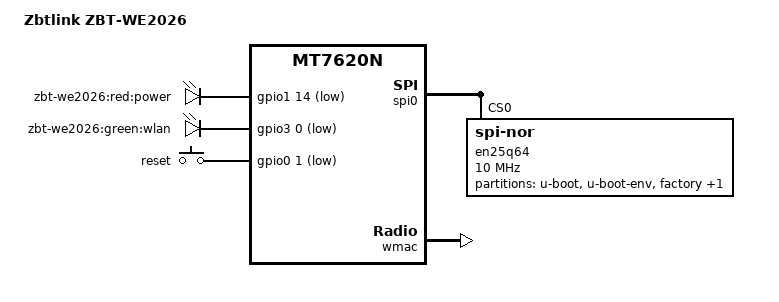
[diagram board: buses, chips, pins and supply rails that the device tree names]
/dts-v1/;

#include <dt-bindings/gpio/gpio.h>
#include <dt-bindings/input/input.h>

#include "mt7620n.dtsi"

/ {
	compatible = "zbtlink,zbt-we2026", "ralink,mt7620n-soc";
	model = "Zbtlink ZBT-WE2026";

	aliases {
		led-boot = &led_power;
		led-failsafe = &led_power;
		led-running = &led_power;
		led-upgrade = &led_power;
	};

	chosen {
		bootargs = "console=ttyS0,115200";
	};

	gpio-leds {
		compatible = "gpio-leds";

		led_power: power {
			label = "zbt-we2026:red:power";
			gpios = <&gpio1 14 GPIO_ACTIVE_LOW>;
		};

		wlan {
			label = "zbt-we2026:green:wlan";
			gpios = <&gpio3 0 GPIO_ACTIVE_LOW>;
		};
	};

	gpio-keys-polled {
		compatible = "gpio-keys-polled";
		poll-interval = <20>;

		reset {
			label = "reset";
			gpios = <&gpio0 1 GPIO_ACTIVE_LOW>;
			linux,code = <KEY_RESTART>;
		};
	};
};

&gpio1 {
	status = "okay";
};

&gpio3 {
	status = "okay";
};

&spi0 {
	status = "okay";

	en25q64@0 {
		compatible = "jedec,spi-nor";
		reg = <0>;
		spi-max-frequency = <10000000>;

		partitions {
			compatible = "fixed-partitions";
			#address-cells = <1>;
			#size-cells = <1>;

			partition@0 {
				label = "u-boot";
				reg = <0x0 0x30000>;
				read-only;
			};

			partition@30000 {
				label = "u-boot-env";
				reg = <0x30000 0x10000>;
				read-only;
			};

			factory: partition@40000 {
				label = "factory";
				reg = <0x40000 0x10000>;
				read-only;
			};

			partition@50000 {
				compatible = "denx,uimage";
				label = "firmware";
				reg = <0x50000 0x760000>;
			};
		};
	};
};

&ethernet {
	mtd-mac-address = <&factory 0x4>;
	mediatek,portmap = "wllll";
};

&wmac {
	ralink,mtd-eeprom = <&factory 0>;
};

&pinctrl {
	state_default: pinctrl0 {
		default {
			ralink,group = "i2c", "spi refclk", "wled";
			ralink,function = "gpio";
		};
	};
};
